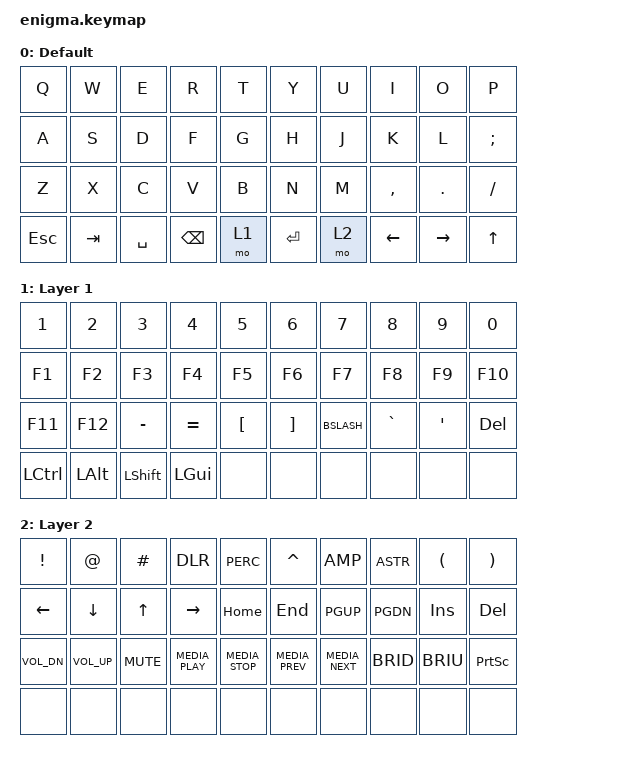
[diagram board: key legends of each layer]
#include <dt-bindings/zmk/keys.h>  // 公式推奨のヘッダー
#include <behaviors.dtsi>           // ビヘイビア（&mo など）を使うために必要

/ {
    keymap {
        compatible = "zmk,keymap";

        // レイヤー0（デフォルト）
        default_layer {
            label = "Default";
            bindings = <
                &kp Q &kp W &kp E &kp R &kp T &kp Y &kp U &kp I &kp O &kp P
                &kp A &kp S &kp D &kp F &kp G &kp H &kp J &kp K &kp L &kp SEMI
                &kp Z &kp X &kp C &kp V &kp B &kp N &kp M &kp COMMA &kp DOT &kp SLASH
                &kp ESC &kp TAB &kp SPC &kp BSPC &mo 1 &kp ENTER &mo 2 &kp LEFT &kp RIGHT &kp UP // RC(3,4)=&mo 1, RC(3,6)=&mo 2
            >;
        };

        // レイヤー1
        layer_1 {
            label = "Layer 1";
            bindings = <
                &kp 1 &kp 2 &kp 3 &kp 4 &kp 5 &kp 6 &kp 7 &kp 8 &kp 9 &kp 0
                &kp F1 &kp F2 &kp F3 &kp F4 &kp F5 &kp F6 &kp F7 &kp F8 &kp F9 &kp F10
                &kp F11 &kp F12 &kp MINUS &kp EQUAL &kp LBKT &kp RBKT &kp BSLASH &kp GRAVE &kp QUOT &kp DEL
                &kp LCTL &kp LALT &kp LSHFT &kp LGUI &none &none &none &none &none &none
            >;
        };

        // レイヤー2
        layer_2 {
            label = "Layer 2";
            bindings = <
                &kp EXCL &kp AT &kp HASH &kp DLR &kp PERC &kp CARET &kp AMP &kp ASTR &kp LPAR &kp RPAR
                &kp LEFT &kp DOWN &kp UP &kp RIGHT &kp HOME &kp END &kp PGUP &kp PGDN &kp INS &kp DEL
                &kp VOL_DN &kp VOL_UP &kp MUTE &kp MEDIA_PLAY &kp MEDIA_STOP &kp MEDIA_PREV &kp MEDIA_NEXT &kp BRID &kp BRIU &kp PRINTSCREEN
                &none &none &none &none &none &none &none &none &none &none
            >;
        };
    };
};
